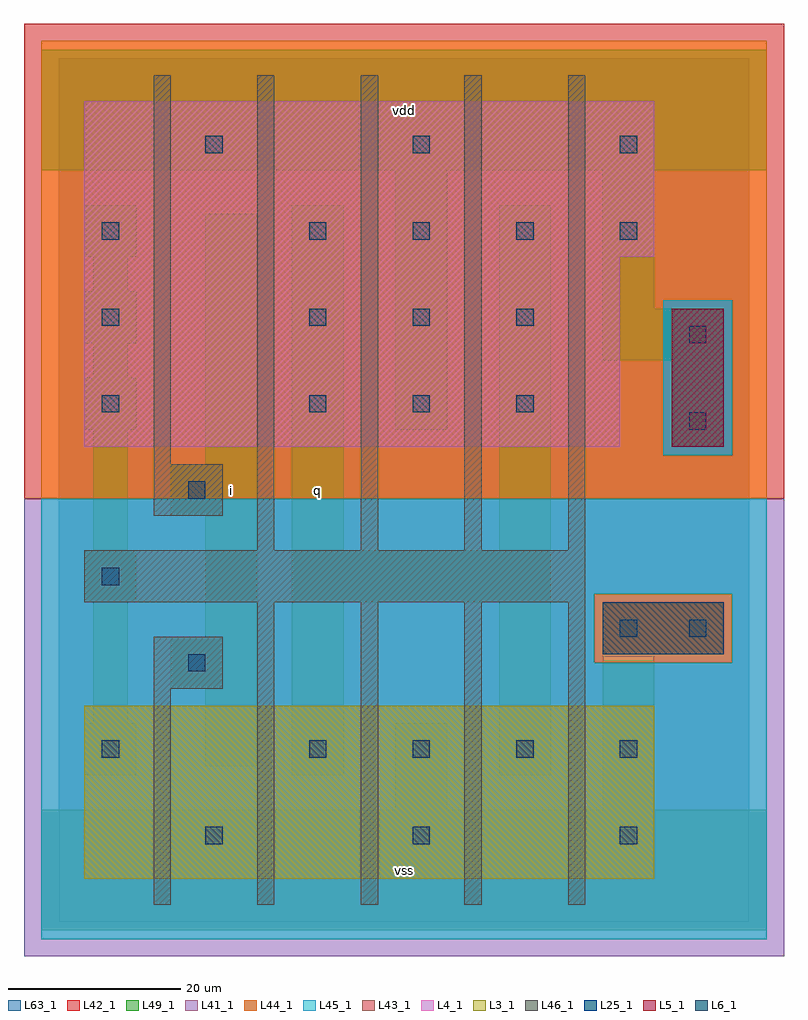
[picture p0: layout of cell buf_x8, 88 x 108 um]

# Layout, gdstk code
import gdstk
lib = gdstk.Library(unit=1e-6, precision=1e-09)
def R(c, l, rs):  # rectangles x0, y0, x1, y1
    for r in rs: c.add(gdstk.rectangle(r[:2], r[2:], *l))
def A(c, l, x, y, w, h, nx, ny, dx, dy):  # array of equal rectangles
    R(c, l, [(x+i*dx, y+j*dy, x+i*dx+w, y+j*dy+h) for i in range(nx) for j in range(ny)])
L3_1 = (3, 1)
L4_1 = (4, 1)
L5_1 = (5, 1)
L6_1 = (6, 1)
L25_1 = (25, 1)
L41_1 = (41, 1)
L42_1 = (42, 1)
L43_1 = (43, 1)
L44_1 = (44, 1)
L45_1 = (45, 1)
L46_1 = (46, 1)
L49_1 = (49, 1)
L63_1 = (63, 1)

buf_x8 = lib.new_cell('buf_x8')
R(buf_x8, L3_1, [(3,5,69,25)])
R(buf_x8, L4_1, [(3,55,65,77), (3,77,69,95)])
R(buf_x8, L5_1, [(71,55,77,71)])
R(buf_x8, L6_1, [(63,31,77,37)])
A(buf_x8, L25_1, 17, 9, 2, 2, 3, 2, 24, 80)
A(buf_x8, L25_1, 5, 19, 2, 2, 1, 3, 0, 20)
A(buf_x8, L25_1, 29, 19, 2, 2, 4, 2, 12, 60)
A(buf_x8, L25_1, 29, 59, 2, 2, 3, 2, 12, 10)
R(buf_x8, L25_1, [(15,29,17,31), (65,33,67,35), (73,33,75,35), (15,49,17,51), (73,57,75,59), (73,67,75,69), (5,69,7,71), (5,79,7,81)])
R(buf_x8, L41_1, [(-4,-4,84,49)])
R(buf_x8, L42_1, [(-4,49,84,104)])
R(buf_x8, L43_1, [(3,5,69,25), (63,31,77,37), (3,55,65,77), (71,55,77,71), (3,77,69,95)])
R(buf_x8, L44_1, [(62,30,78,38), (-2,49,82,54), (-2,54,70,72), (78,54,82,72), (-2,72,82,102)])
R(buf_x8, L45_1, [(-2,-2,82,30), (-2,30,62,38), (78,30,82,38), (-2,38,82,49), (70,54,78,72)])
A(buf_x8, L46_1, 23, 2, 2, 35, 4, 1, 12, 0)
A(buf_x8, L46_1, 23, 43, 2, 55, 4, 1, 12, 0)
R(buf_x8, L46_1, [(11,2,13,27), (11,27,19,33), (3,37,61,43), (11,47,19,53), (11,53,13,98)])
A(buf_x8, L49_1, 3, 17, 6, 6, 1, 3, 0, 20)
R(buf_x8, L49_1, [(-2,-1,82,13), (39,13,45,23), (63,13,69,31), (27,17,33,37), (51,17,57,37), (17,18,23,27), (4,23,8,37), (13,27,23,33), (63,31,77,37), (17,33,23,47), (27,37,57,43), (4,43,8,57), (27,43,33,83), (51,43,57,83), (13,47,23,53), (17,53,23,82), (71,55,77,65), (39,57,45,87), (4,63,8,67), (63,65,77,71), (3,67,9,73), (63,71,69,87), (4,73,8,77), (3,77,9,83), (-2,87,82,101)])
R(buf_x8, L63_1, [(0,0,80,100)])
buf_x8.add(gdstk.Label('q', (30,50), layer=49, texttype=1))
buf_x8.add(gdstk.Label('q', (30,50), layer=49, texttype=1))
buf_x8.add(gdstk.Label('i', (20,50), layer=49, texttype=1))
buf_x8.add(gdstk.Label('i', (20,50), layer=49, texttype=1))
buf_x8.add(gdstk.Label('vss', (40,6), layer=49, texttype=1))
buf_x8.add(gdstk.Label('vss', (40,6), layer=49, texttype=1))
buf_x8.add(gdstk.Label('vdd', (40,94), layer=49, texttype=1))
buf_x8.add(gdstk.Label('vdd', (40,94), layer=49, texttype=1))

lib.write_gds('buf_x8.gds')
